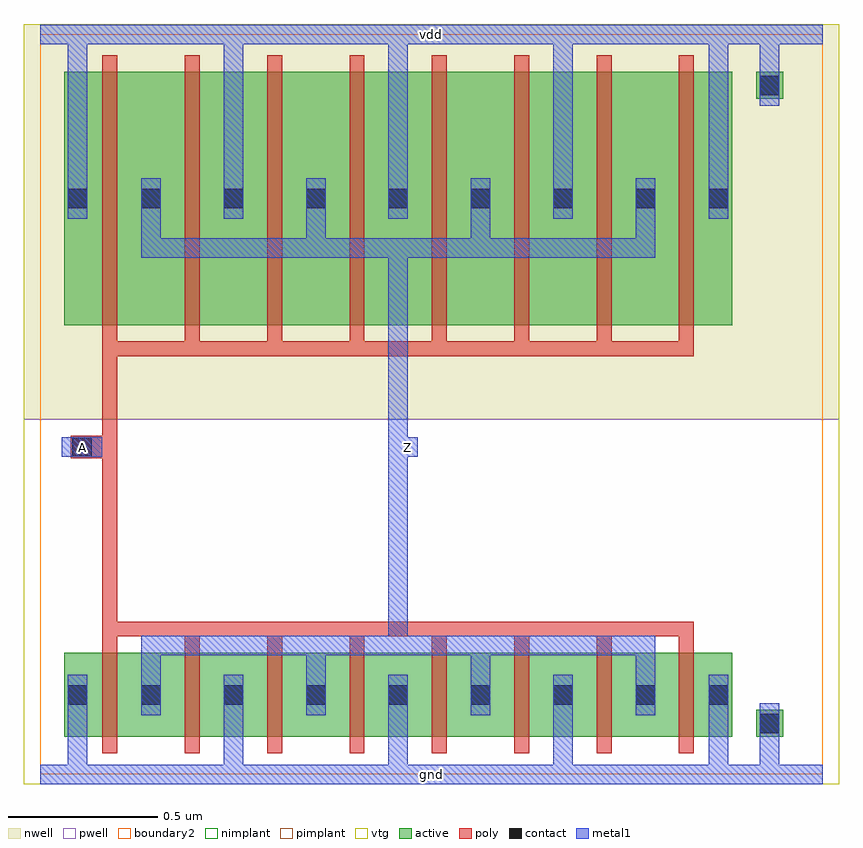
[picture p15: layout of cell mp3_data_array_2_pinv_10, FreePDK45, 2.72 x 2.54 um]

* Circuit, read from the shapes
.subckt mp3_data_array_2_pinv_10 A Z gnd vdd
M1 Z A gnd gnd nfet w=0.28u l=0.05u m=8
M2 Z A vdd vdd pfet w=0.845u l=0.05u m=8
.ends

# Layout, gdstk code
import gdstk
lib = gdstk.Library(unit=1e-6, precision=5e-10)
def R(c, l, rs):  # rectangles x0, y0, x1, y1
    for r in rs: c.add(gdstk.rectangle(r[:2], r[2:], *l))
def A(c, l, x, y, w, h, nx, ny, dx, dy):  # array of equal rectangles
    R(c, l, [(x+i*dx, y+j*dy, x+i*dx+w, y+j*dy+h) for i in range(nx) for j in range(ny)])
active = (1, 0)
pwell = (2, 0)
nwell = (3, 0)
nimplant = (4, 0)
pimplant = (5, 0)
vtg = (6, 0)
poly = (9, 0)
contact = (10, 0)
metal1 = (11, 0)
boundary2 = (239, 0)

mp3_data_array_2_contact = lib.new_cell('mp3_data_array_2_contact_11')
R(mp3_data_array_2_contact, active, [(0,0.0225,0.09,0.1125)])
R(mp3_data_array_2_contact, nwell, [(-0.055,-0.0325,0.145,0.1675)])
R(mp3_data_array_2_contact, pimplant, [(0,0.0225,0.09,0.1125)])
R(mp3_data_array_2_contact, contact, [(0.0125,0.035,0.0775,0.1)])
R(mp3_data_array_2_contact, metal1, [(0.0125,0,0.0775,0.135)])
R(mp3_data_array_2_contact, boundary2, [(-0.055,-0.0325,0.145,0.1675)])

mp3_data_array_2_pmos_m8 = lib.new_cell('mp3_data_array_2_pmos_m8_w0_845_sm1_dm1_da_p')
R(mp3_data_array_2_pmos_m8, active, [(0,0,2.23,0.845)])
R(mp3_data_array_2_pmos_m8, nwell, [(-0.08,-0.08,2.31,0.925)])
R(mp3_data_array_2_pmos_m8, pimplant, [(0,0,2.23,0.845)])
R(mp3_data_array_2_pmos_m8, vtg, [(-0.08,-0.08,2.31,0.925)])
A(mp3_data_array_2_pmos_m8, poly, 0.1275, -0.055, 0.05, 0.955, 8, 1, 0.275, 0)
R(mp3_data_array_2_pmos_m8, poly, [(0.1275,-0.105,2.1025,-0.055)])
A(mp3_data_array_2_pmos_m8, metal1, 0.2575, 0.2575, 0.065, 0.165, 4, 1, 0.55, 0)
A(mp3_data_array_2_pmos_m8, metal1, 0.5325, 0.355, 0.065, 0.135, 3, 1, 0.55, 0)
R(mp3_data_array_2_pmos_m8, metal1, [(0.2575,0.225,1.9725,0.29), (0.0125,0.355,0.0775,0.49), (2.1525,0.355,2.2175,0.49)])
R(mp3_data_array_2_pmos_m8, boundary2, [(-0.08,-0.105,2.31,0.925)])
mp3_data_array_2_pmos_m8.add(gdstk.Reference(mp3_data_array_2_contact, (0,0.355)))
mp3_data_array_2_pmos_m8.add(gdstk.Reference(mp3_data_array_2_contact, (0.245,0.355)))
mp3_data_array_2_pmos_m8.add(gdstk.Reference(mp3_data_array_2_contact, (0.52,0.355)))
mp3_data_array_2_pmos_m8.add(gdstk.Reference(mp3_data_array_2_contact, (0.795,0.355)))
mp3_data_array_2_pmos_m8.add(gdstk.Reference(mp3_data_array_2_contact, (1.07,0.355)))
mp3_data_array_2_pmos_m8.add(gdstk.Reference(mp3_data_array_2_contact, (1.345,0.355)))
mp3_data_array_2_pmos_m8.add(gdstk.Reference(mp3_data_array_2_contact, (1.62,0.355)))
mp3_data_array_2_pmos_m8.add(gdstk.Reference(mp3_data_array_2_contact, (1.895,0.355)))
mp3_data_array_2_pmos_m8.add(gdstk.Reference(mp3_data_array_2_contact, (2.14,0.355)))
mp3_data_array_2_pmos_m8.add(gdstk.Label('G', (1.115,-0.08), layer=9, texttype=0))
mp3_data_array_2_pmos_m8.add(gdstk.Label('S', (1.115,0.4225), layer=11, texttype=0))
mp3_data_array_2_pmos_m8.add(gdstk.Label('S', (1.665,0.4225), layer=11, texttype=0))
mp3_data_array_2_pmos_m8.add(gdstk.Label('S', (0.565,0.4225), layer=11, texttype=0))
mp3_data_array_2_pmos_m8.add(gdstk.Label('S', (0.045,0.4225), layer=11, texttype=0))
mp3_data_array_2_pmos_m8.add(gdstk.Label('S', (2.185,0.4225), layer=11, texttype=0))
mp3_data_array_2_pmos_m8.add(gdstk.Label('D', (1.115,0.2575), layer=11, texttype=0))

c_mp3_data_array_2_contact = lib.new_cell('mp3_data_array_2_contact_10')
R(c_mp3_data_array_2_contact, active, [(0,0.0225,0.09,0.1125)])
R(c_mp3_data_array_2_contact, pwell, [(-0.055,-0.0325,0.145,0.1675)])
R(c_mp3_data_array_2_contact, nimplant, [(0,0.0225,0.09,0.1125)])
R(c_mp3_data_array_2_contact, contact, [(0.0125,0.035,0.0775,0.1)])
R(c_mp3_data_array_2_contact, metal1, [(0.0125,0,0.0775,0.135)])
R(c_mp3_data_array_2_contact, boundary2, [(-0.055,-0.0325,0.145,0.1675)])

mp3_data_array_2_nmos_m8 = lib.new_cell('mp3_data_array_2_nmos_m8_w0_280_sm1_dm1_da_p')
R(mp3_data_array_2_nmos_m8, active, [(0,0,2.23,0.28)])
R(mp3_data_array_2_nmos_m8, pwell, [(-0.08,-0.08,2.31,0.36)])
R(mp3_data_array_2_nmos_m8, nimplant, [(0,0,2.23,0.28)])
R(mp3_data_array_2_nmos_m8, vtg, [(-0.08,-0.08,2.31,0.36)])
A(mp3_data_array_2_nmos_m8, poly, 0.1275, -0.055, 0.05, 0.39, 8, 1, 0.275, 0)
R(mp3_data_array_2_nmos_m8, poly, [(0.1275,0.335,2.1025,0.385)])
A(mp3_data_array_2_nmos_m8, metal1, 0.5325, 0.0725, 0.065, 0.135, 3, 1, 0.55, 0)
A(mp3_data_array_2_nmos_m8, metal1, 0.2575, 0.14, 0.065, 0.165, 4, 1, 0.55, 0)
R(mp3_data_array_2_nmos_m8, metal1, [(0.0125,0.0725,0.0775,0.2075), (2.1525,0.0725,2.2175,0.2075), (0.2575,0.2725,1.9725,0.3375)])
R(mp3_data_array_2_nmos_m8, boundary2, [(-0.08,-0.08,2.31,0.385)])
mp3_data_array_2_nmos_m8.add(gdstk.Reference(c_mp3_data_array_2_contact, (0,0.0725)))
mp3_data_array_2_nmos_m8.add(gdstk.Reference(c_mp3_data_array_2_contact, (0.245,0.0725)))
mp3_data_array_2_nmos_m8.add(gdstk.Reference(c_mp3_data_array_2_contact, (0.52,0.0725)))
mp3_data_array_2_nmos_m8.add(gdstk.Reference(c_mp3_data_array_2_contact, (0.795,0.0725)))
mp3_data_array_2_nmos_m8.add(gdstk.Reference(c_mp3_data_array_2_contact, (1.07,0.0725)))
mp3_data_array_2_nmos_m8.add(gdstk.Reference(c_mp3_data_array_2_contact, (1.345,0.0725)))
mp3_data_array_2_nmos_m8.add(gdstk.Reference(c_mp3_data_array_2_contact, (1.62,0.0725)))
mp3_data_array_2_nmos_m8.add(gdstk.Reference(c_mp3_data_array_2_contact, (1.895,0.0725)))
mp3_data_array_2_nmos_m8.add(gdstk.Reference(c_mp3_data_array_2_contact, (2.14,0.0725)))
mp3_data_array_2_nmos_m8.add(gdstk.Label('G', (1.115,0.36), layer=9, texttype=0))
mp3_data_array_2_nmos_m8.add(gdstk.Label('S', (1.665,0.14), layer=11, texttype=0))
mp3_data_array_2_nmos_m8.add(gdstk.Label('S', (1.115,0.14), layer=11, texttype=0))
mp3_data_array_2_nmos_m8.add(gdstk.Label('S', (0.565,0.14), layer=11, texttype=0))
mp3_data_array_2_nmos_m8.add(gdstk.Label('S', (2.185,0.14), layer=11, texttype=0))
mp3_data_array_2_nmos_m8.add(gdstk.Label('S', (0.045,0.14), layer=11, texttype=0))
mp3_data_array_2_nmos_m8.add(gdstk.Label('D', (1.115,0.305), layer=11, texttype=0))

c_mp3_data_array_2_contact_ = lib.new_cell('mp3_data_array_2_contact_12')
R(c_mp3_data_array_2_contact_, active, [(0,0.0225,0.09,0.1125)])
R(c_mp3_data_array_2_contact_, nwell, [(-0.055,-0.0325,0.145,0.1675)])
R(c_mp3_data_array_2_contact_, nimplant, [(0,0.0225,0.09,0.1125)])
R(c_mp3_data_array_2_contact_, contact, [(0.0125,0.035,0.0775,0.1)])
R(c_mp3_data_array_2_contact_, metal1, [(0.0125,0,0.0775,0.135)])
R(c_mp3_data_array_2_contact_, boundary2, [(-0.055,-0.0325,0.145,0.1675)])

c_mp3_data_array_2_contact__ = lib.new_cell('mp3_data_array_2_contact_13')
R(c_mp3_data_array_2_contact__, active, [(0,0.0225,0.09,0.1125)])
R(c_mp3_data_array_2_contact__, pwell, [(-0.055,-0.0325,0.145,0.1675)])
R(c_mp3_data_array_2_contact__, pimplant, [(0,0.0225,0.09,0.1125)])
R(c_mp3_data_array_2_contact__, contact, [(0.0125,0.035,0.0775,0.1)])
R(c_mp3_data_array_2_contact__, metal1, [(0.0125,0,0.0775,0.135)])
R(c_mp3_data_array_2_contact__, boundary2, [(-0.055,-0.0325,0.145,0.1675)])

c_mp3_data_array_2_contact___ = lib.new_cell('mp3_data_array_2_contact_14')
R(c_mp3_data_array_2_contact___, poly, [(0.03,0,0.105,0.075)])
R(c_mp3_data_array_2_contact___, contact, [(0.035,0.005,0.1,0.07)])
R(c_mp3_data_array_2_contact___, metal1, [(0,0.005,0.135,0.07)])
R(c_mp3_data_array_2_contact___, boundary2, [(0,0,0.135,0.075)])

mp3_data_array_2_pinv_10 = lib.new_cell('mp3_data_array_2_pinv_10')
R(mp3_data_array_2_pinv_10, pwell, [(-0.055,-0.0325,2.6675,1.185)])
R(mp3_data_array_2_pinv_10, nwell, [(-0.055,1.185,2.6675,2.505)])
R(mp3_data_array_2_pinv_10, vtg, [(-0.055,-0.0325,2.6675,1.185), (-0.055,1.185,2.6675,2.505)])
R(mp3_data_array_2_pinv_10, poly, [(0.2075,0.51,0.2575,1.395), (0.14,1.055,0.2075,1.13)])
A(mp3_data_array_2_pinv_10, metal1, 0.6125, -0.0325, 0.065, 0.23, 3, 1, 0.55, 0)
A(mp3_data_array_2_pinv_10, metal1, 0.6125, 1.855, 0.065, 0.6475, 3, 1, 0.55, 0)
R(mp3_data_array_2_pinv_10, metal1, [(0,-0.0325,2.6125,0.0325), (0.0925,-0.0325,0.1575,0.1975), (2.2325,-0.0325,2.2975,0.1975), (2.4025,0,2.4675,0.17), (1.1625,0.3975,1.2275,1.79), (0.0725,1.06,0.2075,1.125), (1.195,1.06,1.26,1.125), (0.0925,1.855,0.1575,2.5025), (2.2325,1.855,2.2975,2.5025), (2.4025,2.3,2.4675,2.47), (0,2.4375,2.6125,2.5025)])
R(mp3_data_array_2_pinv_10, boundary2, [(0,0,2.6125,2.47), (0,0,2.6125,2.47)])
mp3_data_array_2_pinv_10.add(gdstk.Reference(mp3_data_array_2_pmos_m8, (0.08,1.5)))
mp3_data_array_2_pinv_10.add(gdstk.Reference(mp3_data_array_2_nmos_m8, (0.08,0.125)))
mp3_data_array_2_pinv_10.add(gdstk.Reference(c_mp3_data_array_2_contact_, (2.39,2.2325)))
mp3_data_array_2_pinv_10.add(gdstk.Reference(c_mp3_data_array_2_contact__, (2.39,0.1025)))
mp3_data_array_2_pinv_10.add(gdstk.Reference(c_mp3_data_array_2_contact___, (0.0725,1.055)))
mp3_data_array_2_pinv_10.add(gdstk.Label('A', (0.14,1.0925), layer=11, texttype=0))
mp3_data_array_2_pinv_10.add(gdstk.Label('Z', (1.2275,1.0925), layer=11, texttype=0))
mp3_data_array_2_pinv_10.add(gdstk.Label('gnd', (1.3065,0), layer=11, texttype=0))
mp3_data_array_2_pinv_10.add(gdstk.Label('vdd', (1.3065,2.47), layer=11, texttype=0))

lib.write_gds('mp3_data_array_2_pinv_10.gds')
